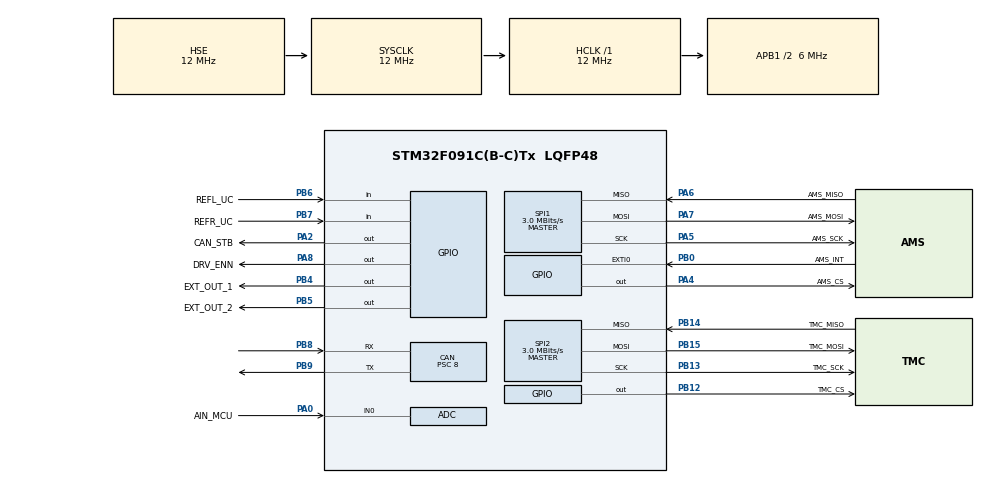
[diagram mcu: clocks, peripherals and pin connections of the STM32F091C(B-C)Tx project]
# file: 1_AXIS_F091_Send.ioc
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CAN.BS1=CAN_BS1_2TQ
CAN.BS2=CAN_BS2_1TQ
CAN.CalculateBaudRate=187500
CAN.CalculateTimeBit=5333
CAN.CalculateTimeQuantum=1333.3333333333333
CAN.Mode=CAN_MODE_NORMAL
CAN.Prescaler=8
Mcu.Family=STM32F0
Mcu.Name=STM32F091C(B-C)Tx
Mcu.Package=LQFP48
NVIC.CEC_CAN_IRQn=true\:0\:0\:false\:false\:true\:true\:true\:true
PA0.GPIO_Label=AIN_MCU
PA0.Mode=IN0
PA0.Signal=ADC_IN0
PA13.GPIO_Label=SWDIO
PA13.Mode=Serial_Wire
PA13.Signal=SYS_SWDIO
PA14.GPIO_Label=SWCLK
PA14.Mode=Serial_Wire
PA14.Signal=SYS_SWCLK
PA2.GPIO_Label=CAN_STB
PA2.PinState=GPIO_PIN_RESET
PA2.Signal=GPIO_Output
PA4.GPIO_Label=AMS_CS
PA4.Signal=GPIO_Output
PA5.GPIO_Label=AMS_SCK
PA5.Mode=Full_Duplex_Master
PA5.Signal=SPI1_SCK
PA6.GPIO_Label=AMS_MISO
PA6.Mode=Full_Duplex_Master
PA6.Signal=SPI1_MISO
PA7.GPIO_Label=AMS_MOSI
PA7.Mode=Full_Duplex_Master
PA7.Signal=SPI1_MOSI
PA8.GPIO_Label=DRV_ENN
PA8.Signal=GPIO_Output
PB0.GPIO_Label=AMS_INT
PB0.Signal=GPXTI0
PB12.GPIO_Label=TMC_CS
PB12.PinState=GPIO_PIN_SET
PB12.Signal=GPIO_Output
PB13.GPIO_Label=TMC_SCK
PB13.Mode=Full_Duplex_Master
PB13.Signal=SPI2_SCK
PB14.GPIO_Label=TMC_MISO
PB14.Mode=Full_Duplex_Master
PB14.Signal=SPI2_MISO
PB15.GPIO_Label=TMC_MOSI
PB15.Mode=Full_Duplex_Master
PB15.Signal=SPI2_MOSI
PB4.GPIO_Label=EXT_OUT_1
PB4.GPIO_PuPd=GPIO_PULLDOWN
PB4.Signal=GPIO_Output
PB5.GPIO_Label=EXT_OUT_2
PB5.GPIO_PuPd=GPIO_PULLDOWN
PB5.Signal=GPIO_Output
PB6.GPIO_Label=REFL_UC
PB6.GPIO_PuPd=GPIO_PULLDOWN
PB6.Signal=GPIO_Input
PB7.GPIO_Label=REFR_UC
PB7.GPIO_PuPd=GPIO_PULLDOWN
PB7.Signal=GPIO_Input
PB8.Mode=CAN_Activate
PB8.Signal=CAN_RX
PB9.Mode=CAN_Activate
PB9.Signal=CAN_TX
PF0-OSC_IN.Mode=HSE-External-Oscillator
PF0-OSC_IN.Signal=RCC_OSC_IN
PF1-OSC_OUT.Mode=HSE-External-Oscillator
PF1-OSC_OUT.Signal=RCC_OSC_OUT
ProjectManager.HeapSize=0x200
ProjectManager.StackSize=0x400
ProjectManager.TargetToolchain=STM32CubeIDE
RCC.AHBFreq_Value=12000000
RCC.APB1CLKDivider=RCC_HCLK_DIV2
RCC.APB1Freq_Value=6000000
RCC.APB1TimFreq_Value=12000000
RCC.HCLKFreq_Value=12000000
RCC.HSE_VALUE=12000000
RCC.PLLSourceVirtual=RCC_PLLSOURCE_HSE
RCC.SYSCLKFreq_VALUE=12000000
RCC.SYSCLKSource=RCC_SYSCLKSOURCE_HSE
SPI1.CLKPhase=SPI_PHASE_2EDGE
SPI1.CalculateBaudRate=3.0 MBits/s
SPI1.DataSize=SPI_DATASIZE_8BIT
SPI1.Direction=SPI_DIRECTION_2LINES
SPI1.Mode=SPI_MODE_MASTER
SPI1.VirtualType=VM_MASTER
SPI2.CalculateBaudRate=3.0 MBits/s
SPI2.DataSize=SPI_DATASIZE_8BIT
SPI2.Direction=SPI_DIRECTION_2LINES
SPI2.Mode=SPI_MODE_MASTER
SPI2.VirtualType=VM_MASTER
board=custom

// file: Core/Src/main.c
/* USER CODE BEGIN Header */
/**
  ******************************************************************************
  * @file           : main.c
  * @brief          : Main program body
  ******************************************************************************
  * @attention
  *
  * Copyright (c) 2022 STMicroelectronics.
  * All rights reserved.
  *
  * This software is licensed under terms that can be found in the LICENSE file
  * in the root directory of this software component.
  * If no LICENSE file comes with this software, it is provided AS-IS.
  *
  ******************************************************************************
  */
/* USER CODE END Header */
#include "main.h"

ADC_HandleTypeDef hadc;

CAN_HandleTypeDef hcan;

SPI_HandleTypeDef hspi1;
SPI_HandleTypeDef hspi2;

void SystemClock_Config(void);
static void MX_GPIO_Init(void);
static void MX_ADC_Init(void);
static void MX_CAN_Init(void);
static void MX_SPI1_Init(void);
static void MX_SPI2_Init(void);

/* USER CODE BEGIN 0 */

/* RAMP config */
RampConfig Ramp1;
RampConfig StallSettings1;
RampConfig StealthSettings1;
RampConfig StopRamp1;

/* Current config */
CurrentConfig CurrentSetting1;

/* User Settings */
int AMS_ENB = 0; // 0 = disable Hall sensor , 1 = enable Hall sensor
int ENC_ENB = 0; // 0 = disable Encoder , 1 = enable Encoder
int ENC_HOME = 0; // 0 = don't reset ENC counter at Z-event, 1 = reset at Z-event (for homing)
int STG_ENB = 0; // 0 = disable Stallguard, 1 = enable Stallguard
int32_t AMS_Resolution =  4096; // Hall sensor resolution
int32_t ENC_Resolution =  8000; // Encoder resolution

/* CAN VARIABLES */  //
CAN_TxHeaderTypeDef CANTxHeader;
CAN_RxHeaderTypeDef CANRxHeader;

uint8_t CANTxData[8];	//CANTX data array
uint8_t CANRxData[8];	//CANRX data array
uint32_t TxMailbox[3];	//CAN Mailbox
int Datacheck;			//temp value for checking incomming CAN Data

/*  CAN RECEIVE INTERRUPT */
void HAL_CAN_RxFifo0MsgPendingCallback(CAN_HandleTypeDef *hcan)
{
	HAL_CAN_GetRxMessage(hcan, CAN_RX_FIFO0, &CANRxHeader, CANRxData);

	if (CANRxData[0] == 0x01)
	{
		Datacheck = 1;
	}
}

/* AMS INTERRUPT */
void HAL_GPIO_EXTI_Callback(uint16_t GPIO_Pin)
{
	if(GPIO_Pin == AMS_INT_Pin && AMS_Ready == 0)
	{
		AMS_Ready = 1;
	}
}

/* USER CODE END 0 */

int main(void)
{

  /* MCU Configuration--------------------------------------------------------*/

  /* Reset of all peripherals, Initializes the Flash interface and the Systick. */
  HAL_Init();

  /* Configure the system clock */
  SystemClock_Config();

  /* Initialize all configured peripherals */
  MX_GPIO_Init();
  MX_ADC_Init();
  MX_CAN_Init();
  MX_SPI1_Init();
  MX_SPI2_Init();
  /* USER CODE BEGIN 2 */

  HAL_Delay(25); //wait for caps to charge

  HAL_CAN_Start(&hcan);
  HAL_CAN_ActivateNotification(&hcan, CAN_IT_RX_FIFO0_MSG_PENDING);

  // DATA pakket opbouw CAN BUS

  CANTxHeader.DLC = 8;	// data length
  CANTxHeader.ExtId = 0; // ext ID
  CANTxHeader.IDE = CAN_ID_STD;
  CANTxHeader.RTR = CAN_RTR_DATA;
  CANTxHeader.StdId = 0x111; // ID
  CANTxHeader.TransmitGlobalTime = DISABLE;

  CANTxData[0] = 0x01; // dummy data
  CANTxData[1] = 0x02; // dummy data
  CANTxData[2] = 0x03; // dummy data
  CANTxData[3] = 0x04; // dummy data
  CANTxData[4] = 0x05; // dummy data
  CANTxData[5] = 0x06; // dummy data
  CANTxData[6] = 0x07; // dummy data
  CANTxData[7] = 0x08; // dummy data

  if (HAL_CAN_AddTxMessage(&hcan, &CANTxHeader, &CANTxData, &TxMailbox) != HAL_OK)
  {
	  Error_Handler();
  }

  /* USER CODE END 2 */

  /* Infinite loop */
  while (1)
  {

    /* USER CODE BEGIN 3 */
		if (Datacheck == 1)
		{
			Datacheck = 0;
			  if (HAL_CAN_AddTxMessage(&hcan, &CANTxHeader, &CANTxData, &TxMailbox) != HAL_OK)
			  {
				  Error_Handler();
			  }
		}

  }
  /* USER CODE END 3 */
}

void SystemClock_Config(void)
{
  RCC_OscInitTypeDef RCC_OscInitStruct = {0};
  RCC_ClkInitTypeDef RCC_ClkInitStruct = {0};

  /** Initializes the RCC Oscillators according to the specified parameters
  * in the RCC_OscInitTypeDef structure.
  */
  RCC_OscInitStruct.OscillatorType = RCC_OSCILLATORTYPE_HSI14|RCC_OSCILLATORTYPE_HSE;
  RCC_OscInitStruct.HSEState = RCC_HSE_ON;
  RCC_OscInitStruct.HSI14State = RCC_HSI14_ON;
  RCC_OscInitStruct.HSI14CalibrationValue = 16;
  RCC_OscInitStruct.PLL.PLLState = RCC_PLL_NONE;
  if (HAL_RCC_OscConfig(&RCC_OscInitStruct) != HAL_OK)
  {
    Error_Handler();
  }

  /** Initializes the CPU, AHB and APB buses clocks
  */
  RCC_ClkInitStruct.ClockType = RCC_CLOCKTYPE_HCLK|RCC_CLOCKTYPE_SYSCLK
                              |RCC_CLOCKTYPE_PCLK1;
  RCC_ClkInitStruct.SYSCLKSource = RCC_SYSCLKSOURCE_HSE;
  RCC_ClkInitStruct.AHBCLKDivider = RCC_SYSCLK_DIV1;
  RCC_ClkInitStruct.APB1CLKDivider = RCC_HCLK_DIV2;

  if (HAL_RCC_ClockConfig(&RCC_ClkInitStruct, FLASH_LATENCY_0) != HAL_OK)
  {
    Error_Handler();
  }
}

static void MX_ADC_Init(void)
{

  ADC_ChannelConfTypeDef sConfig = {0};

  /** Configure the global features of the ADC (Clock, Resolution, Data Alignment and number of conversion)
  */
  hadc.Instance = ADC1;
  hadc.Init.ClockPrescaler = ADC_CLOCK_ASYNC_DIV1;
  hadc.Init.Resolution = ADC_RESOLUTION_12B;
  hadc.Init.DataAlign = ADC_DATAALIGN_RIGHT;
  hadc.Init.ScanConvMode = ADC_SCAN_DIRECTION_FORWARD;
  hadc.Init.EOCSelection = ADC_EOC_SINGLE_CONV;
  hadc.Init.LowPowerAutoWait = DISABLE;
  hadc.Init.LowPowerAutoPowerOff = DISABLE;
  hadc.Init.ContinuousConvMode = DISABLE;
  hadc.Init.DiscontinuousConvMode = DISABLE;
  hadc.Init.ExternalTrigConv = ADC_SOFTWARE_START;
  hadc.Init.ExternalTrigConvEdge = ADC_EXTERNALTRIGCONVEDGE_NONE;
  hadc.Init.DMAContinuousRequests = DISABLE;
  hadc.Init.Overrun = ADC_OVR_DATA_PRESERVED;
  if (HAL_ADC_Init(&hadc) != HAL_OK)
  {
    Error_Handler();
  }

  /** Configure for the selected ADC regular channel to be converted.
  */
  sConfig.Channel = ADC_CHANNEL_0;
  sConfig.Rank = ADC_RANK_CHANNEL_NUMBER;
  sConfig.SamplingTime = ADC_SAMPLETIME_1CYCLE_5;
  if (HAL_ADC_ConfigChannel(&hadc, &sConfig) != HAL_OK)
  {
    Error_Handler();
  }

}

static void MX_CAN_Init(void)
{

  /* USER CODE BEGIN CAN_Init 0 */
	HAL_GPIO_WritePin(GPIOA,CAN_STB_Pin,0); // Set STB pin LOW for normal operation
  /* USER CODE END CAN_Init 0 */

  hcan.Instance = CAN;
  hcan.Init.Prescaler = 8;
  hcan.Init.Mode = CAN_MODE_NORMAL;
  hcan.Init.SyncJumpWidth = CAN_SJW_1TQ;
  hcan.Init.TimeSeg1 = CAN_BS1_2TQ;
  hcan.Init.TimeSeg2 = CAN_BS2_1TQ;
  hcan.Init.TimeTriggeredMode = DISABLE;
  hcan.Init.AutoBusOff = DISABLE;
  hcan.Init.AutoWakeUp = DISABLE;
  hcan.Init.AutoRetransmission = DISABLE;
  hcan.Init.ReceiveFifoLocked = DISABLE;
  hcan.Init.TransmitFifoPriority = DISABLE;
  if (HAL_CAN_Init(&hcan) != HAL_OK)
  {
    Error_Handler();
  }
  /* USER CODE BEGIN CAN_Init 2 */

  /* CAN filter */

  CAN_FilterTypeDef  sFilterConfig;

  sFilterConfig.FilterActivation = ENABLE;
  sFilterConfig.FilterBank = 10;
  sFilterConfig.FilterFIFOAssignment = CAN_RX_FIFO0;
  sFilterConfig.FilterIdHigh = 0x0000;
  sFilterConfig.FilterIdLow = 0x0000;
  sFilterConfig.FilterMaskIdHigh = 0x0000;
  sFilterConfig.FilterMaskIdLow = 0x0000;
  sFilterConfig.FilterMode = CAN_FILTERMODE_IDMASK;
  sFilterConfig.FilterScale = CAN_FILTERSCALE_32BIT;
  sFilterConfig.SlaveStartFilterBank = 0;

  HAL_CAN_ConfigFilter(&hcan, &sFilterConfig);

  HAL_CAN_Start(&hcan);
  HAL_CAN_ActivateNotification(&hcan, CAN_IT_RX_FIFO0_MSG_PENDING);

  /* USER CODE END CAN_Init 2 */

}

static void MX_SPI1_Init(void)
{

  /* SPI1 parameter configuration*/
  hspi1.Instance = SPI1;
  hspi1.Init.Mode = SPI_MODE_MASTER;
  hspi1.Init.Direction = SPI_DIRECTION_2LINES;
  hspi1.Init.DataSize = SPI_DATASIZE_8BIT;
  hspi1.Init.CLKPolarity = SPI_POLARITY_LOW;
  hspi1.Init.CLKPhase = SPI_PHASE_2EDGE;
  hspi1.Init.NSS = SPI_NSS_SOFT;
  hspi1.Init.BaudRatePrescaler = SPI_BAUDRATEPRESCALER_2;
  hspi1.Init.FirstBit = SPI_FIRSTBIT_MSB;
  hspi1.Init.TIMode = SPI_TIMODE_DISABLE;
  hspi1.Init.CRCCalculation = SPI_CRCCALCULATION_DISABLE;
  hspi1.Init.CRCPolynomial = 7;
  hspi1.Init.CRCLength = SPI_CRC_LENGTH_DATASIZE;
  hspi1.Init.NSSPMode = SPI_NSS_PULSE_DISABLE;
  if (HAL_SPI_Init(&hspi1) != HAL_OK)
  {
    Error_Handler();
  }

}

static void MX_SPI2_Init(void)
{

  /* SPI2 parameter configuration*/
  hspi2.Instance = SPI2;
  hspi2.Init.Mode = SPI_MODE_MASTER;
  hspi2.Init.Direction = SPI_DIRECTION_2LINES;
  hspi2.Init.DataSize = SPI_DATASIZE_8BIT;
  hspi2.Init.CLKPolarity = SPI_POLARITY_LOW;
  hspi2.Init.CLKPhase = SPI_PHASE_1EDGE;
  hspi2.Init.NSS = SPI_NSS_SOFT;
  hspi2.Init.BaudRatePrescaler = SPI_BAUDRATEPRESCALER_2;
  hspi2.Init.FirstBit = SPI_FIRSTBIT_MSB;
  hspi2.Init.TIMode = SPI_TIMODE_DISABLE;
  hspi2.Init.CRCCalculation = SPI_CRCCALCULATION_DISABLE;
  hspi2.Init.CRCPolynomial = 7;
  hspi2.Init.CRCLength = SPI_CRC_LENGTH_DATASIZE;
  hspi2.Init.NSSPMode = SPI_NSS_PULSE_ENABLE;
  if (HAL_SPI_Init(&hspi2) != HAL_OK)
  {
    Error_Handler();
  }

}

static void MX_GPIO_Init(void)
{
  GPIO_InitTypeDef GPIO_InitStruct = {0};

  /* GPIO Ports Clock Enable */
  __HAL_RCC_GPIOF_CLK_ENABLE();
  __HAL_RCC_GPIOA_CLK_ENABLE();
  __HAL_RCC_GPIOB_CLK_ENABLE();

  /*Configure GPIO pin Output Level */
  HAL_GPIO_WritePin(GPIOA, CAN_STB_Pin|AMS_CS_Pin|DRV_ENN_Pin, GPIO_PIN_RESET);

  /*Configure GPIO pin Output Level */
  HAL_GPIO_WritePin(TMC_CS_GPIO_Port, TMC_CS_Pin, GPIO_PIN_SET);

  /*Configure GPIO pin Output Level */
  HAL_GPIO_WritePin(GPIOB, EXT_OUT_1_Pin|EXT_OUT_2_Pin, GPIO_PIN_RESET);

  /*Configure GPIO pins : CAN_STB_Pin AMS_CS_Pin DRV_ENN_Pin */
  GPIO_InitStruct.Pin = CAN_STB_Pin|AMS_CS_Pin|DRV_ENN_Pin;
  GPIO_InitStruct.Mode = GPIO_MODE_OUTPUT_PP;
  GPIO_InitStruct.Pull = GPIO_NOPULL;
  GPIO_InitStruct.Speed = GPIO_SPEED_FREQ_LOW;
  HAL_GPIO_Init(GPIOA, &GPIO_InitStruct);

  /*Configure GPIO pin : AMS_INT_Pin */
  GPIO_InitStruct.Pin = AMS_INT_Pin;
  GPIO_InitStruct.Mode = GPIO_MODE_IT_RISING;
  GPIO_InitStruct.Pull = GPIO_NOPULL;
  HAL_GPIO_Init(AMS_INT_GPIO_Port, &GPIO_InitStruct);

  /*Configure GPIO pin : TMC_CS_Pin */
  GPIO_InitStruct.Pin = TMC_CS_Pin;
  GPIO_InitStruct.Mode = GPIO_MODE_OUTPUT_PP;
  GPIO_InitStruct.Pull = GPIO_NOPULL;
  GPIO_InitStruct.Speed = GPIO_SPEED_FREQ_LOW;
  HAL_GPIO_Init(TMC_CS_GPIO_Port, &GPIO_InitStruct);

  /*Configure GPIO pins : EXT_OUT_1_Pin EXT_OUT_2_Pin */
  GPIO_InitStruct.Pin = EXT_OUT_1_Pin|EXT_OUT_2_Pin;
  GPIO_InitStruct.Mode = GPIO_MODE_OUTPUT_PP;
  GPIO_InitStruct.Pull = GPIO_PULLDOWN;
  GPIO_InitStruct.Speed = GPIO_SPEED_FREQ_LOW;
  HAL_GPIO_Init(GPIOB, &GPIO_InitStruct);

  /*Configure GPIO pins : REFL_UC_Pin REFR_UC_Pin */
  GPIO_InitStruct.Pin = REFL_UC_Pin|REFR_UC_Pin;
  GPIO_InitStruct.Mode = GPIO_MODE_INPUT;
  GPIO_InitStruct.Pull = GPIO_PULLDOWN;
  HAL_GPIO_Init(GPIOB, &GPIO_InitStruct);

/* USER CODE BEGIN MX_GPIO_Init_2 */
	HAL_GPIO_WritePin(GPIOB, TMC_CS_Pin, 1); // make CS high
/* USER CODE END MX_GPIO_Init_2 */
}

void Error_Handler(void)
{
  __disable_irq();
  while (1)
  {
  }
}
